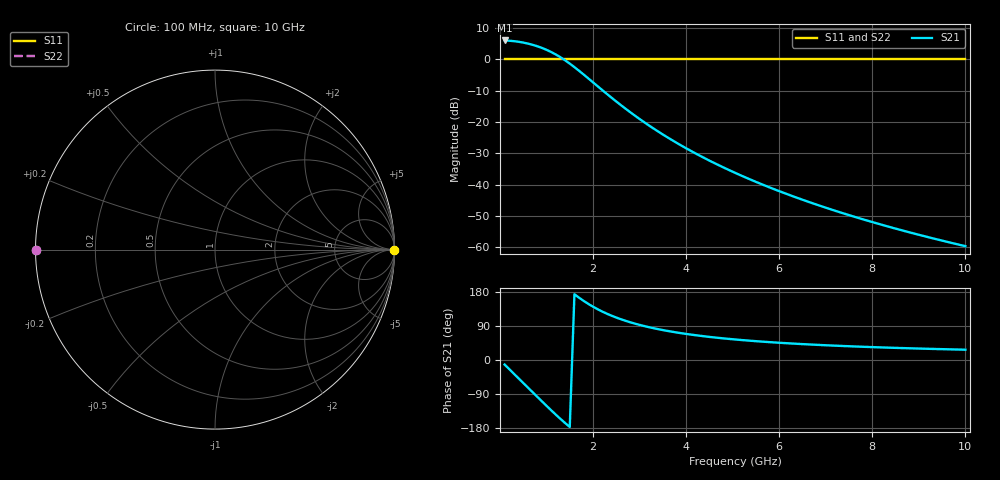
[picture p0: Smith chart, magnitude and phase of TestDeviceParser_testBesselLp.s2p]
! File created by SignalIntegrity v1.1.14: Signal and Power Integrity Tools
! https://github.com/TeledyneLeCroy/SignalIntegrity
# MHz S MA R 50.0
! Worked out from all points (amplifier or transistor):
!   100 points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, 100 MHz to 10 GHz, reference 50 ohm
!   highest |S21| = 6.0 dB at 100 MHz (marker M1)
!   |S21| within 3 dB of that: start of sweep to 1.002 GHz
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100  1 0.0  1.994 -12.1  0 0.0  1 180.0
200  1 0.0  1.975 -24.2  0 0.0  1 180.0
400  1 0.0  1.899 -48.4  0 0.0  1 180.0
500  1 0.0  1.844 -60.6  0 0.0  1 180.0
600  1 0.0  1.778 -72.7  0 0.0  1 180.0
700  1 0.0  1.701 -84.8  0 0.0  1 180.0
800  1 0.0  1.614 -96.8  0 0.0  1 180.0
1000  1 0.0  1.414 -120.8  0 0.0  1 180.0
1100  1 0.0  1.304 -132.6  0 0.0  1 180.0
1200  1 0.0  1.19 -144.2  0 0.0  1 180.0
1300  1 0.0  1.075 -155.5  0 0.0  1 180.0
1500  1 0.0  0.851 -176.7  0 0.0  1 180.0
1600  1 0.0  0.7481 173.5  0 0.0  1 180.0
1800  1 0.0  0.5686 155.8  0 0.0  1 180.0
2100  1 0.0  0.3702 133.9  0 0.0  1 180.0
2400  1 0.0  0.2424 116.8  0 0.0  1 180.0
2800  1 0.0  0.1426 99.5  0 0.0  1 180.0
3400  1 0.0  0.07019 81.4  0 0.0  1 180.0
5100  1 0.0  0.01484 53.7  0 0.0  1 180.0
6700  1 0.0  0.005085 40.7  0 0.0  1 180.0
8400  1 0.0  0.002078 32.4  0 0.0  1 180.0
10000  1 0.0  0.00104 27.2  0 0.0  1 180.0
